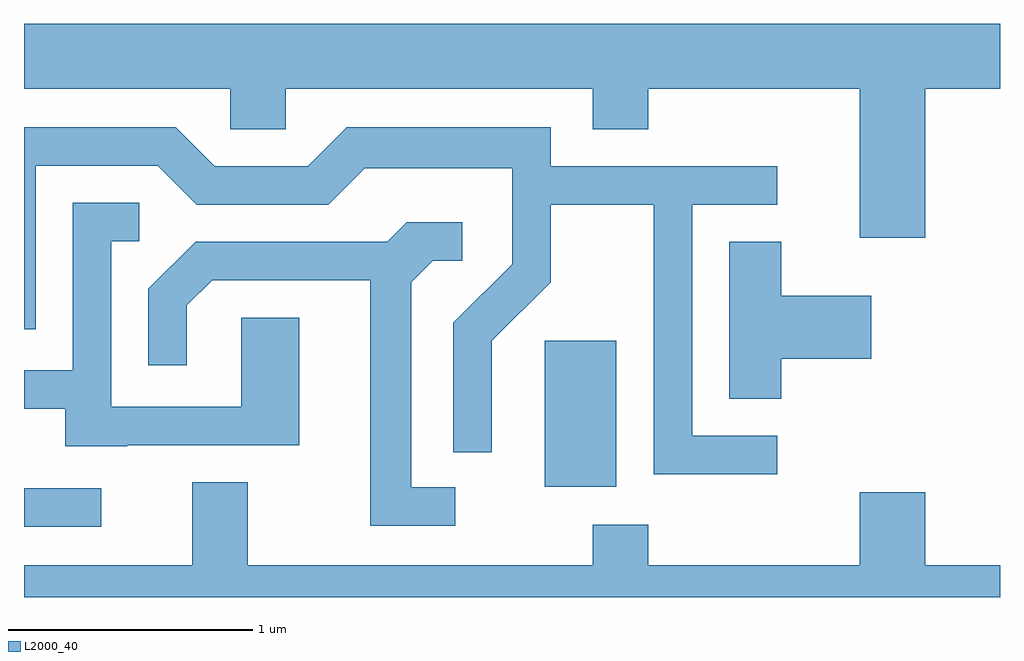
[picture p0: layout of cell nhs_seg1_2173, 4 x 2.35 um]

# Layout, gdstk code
import gdstk
lib = gdstk.Library(unit=1e-6, precision=1e-09)
def R(c, l, rs):  # rectangles x0, y0, x1, y1
    for r in rs: c.add(gdstk.rectangle(r[:2], r[2:], *l))
def P(c, l, *ps):  # polygons
    for p in ps: c.add(gdstk.Polygon(p, *l))
L2000_40 = (2000, 40)

nhs_seg1_2173 = lib.new_cell('nhs_seg1_2173')
R(nhs_seg1_2173, L2000_40, [(251.611,900.001,251.928,900.159), (253.746,900.166,254.039,900.764)])
P(nhs_seg1_2173, L2000_40, [(255.304,901.796),(255.611,901.796),(255.611,902.064),(251.611,902.064),(251.611,901.796),(252.456,901.796),(252.456,901.631),(252.684,901.631),(252.684,901.796),(253.941,901.796),(253.941,901.631),(254.169,901.631),(254.169,901.796),(255.036,901.796),(255.036,901.186),(255.304,901.186)],
  [(254.698,900.374),(254.349,900.374),(254.349,901.321),(254.698,901.321),(254.698,901.479),(253.769,901.479),(253.769,901.639),(252.934,901.639),(252.774,901.479),(252.392,901.479),(252.232,901.639),(251.611,901.639),(251.611,900.811),(251.659,900.811),(251.659,901.481),(252.159,901.481),(252.319,901.321),(252.857,901.321),(253.007,901.471),(253.611,901.471),(253.611,901.077),(253.371,900.837),(253.371,900.308),(253.529,900.308),(253.529,900.764),(253.769,901.004),(253.769,901.321),(254.191,901.321),(254.191,900.216),(254.698,900.216)],
  [(252.035,900.336),(252.739,900.336),(252.739,900.859),(252.501,900.859),(252.501,900.494),(251.969,900.494),(251.969,901.171),(252.083,901.171),(252.083,901.329),(251.811,901.329),(251.811,900.644),(251.611,900.644),(251.611,900.486),(251.781,900.486),(251.781,900.331),(252.035,900.331)],
  [(253.378,900.164),(253.199,900.164),(253.199,901.004),(253.287,901.091),(253.408,901.091),(253.408,901.249),(253.179,901.249),(253.099,901.169),(252.314,901.169),(252.121,900.977),(252.121,900.663),(252.279,900.663),(252.279,900.909),(252.382,901.011),(253.031,901.011),(253.031,900.006),(253.378,900.006)],
  [(254.714,900.691),(255.084,900.691),(255.084,900.949),(254.714,900.949),(254.714,901.169),(254.501,901.169),(254.501,900.526),(254.714,900.526)],
  [(255.611,899.844),(255.304,899.844),(255.304,900.144),(255.036,900.144),(255.036,899.844),(254.169,899.844),(254.169,900.009),(253.941,900.009),(253.941,899.844),(252.529,899.844),(252.529,900.184),(252.301,900.184),(252.301,899.844),(251.611,899.844),(251.611,899.712),(255.611,899.712)])

lib.write_gds('nhs_seg1_2173.gds')
